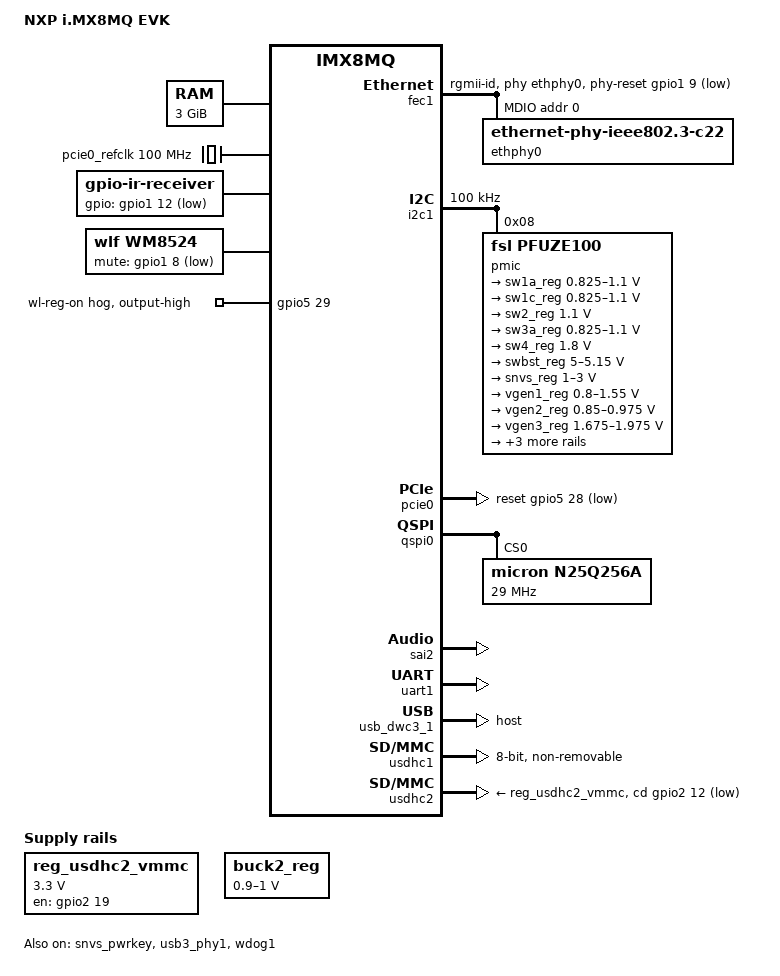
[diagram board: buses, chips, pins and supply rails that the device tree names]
// SPDX-License-Identifier: (GPL-2.0 OR MIT)
/*
 * Copyright 2017 NXP
 * Copyright (C) 2017-2018 Pengutronix, Lucas Stach <kernel@pengutronix.de>
 */

/dts-v1/;

#include "imx8mq.dtsi"

/ {
	model = "NXP i.MX8MQ EVK";
	compatible = "fsl,imx8mq-evk", "fsl,imx8mq";

	chosen {
		stdout-path = &uart1;
	};

	memory@40000000 {
		device_type = "memory";
		reg = <0x00000000 0x40000000 0 0xc0000000>;
	};

	pcie0_refclk: pcie0-refclk {
		compatible = "fixed-clock";
		#clock-cells = <0>;
		clock-frequency = <100000000>;
	};

	reg_usdhc2_vmmc: regulator-vsd-3v3 {
		pinctrl-names = "default";
		pinctrl-0 = <&pinctrl_reg_usdhc2>;
		compatible = "regulator-fixed";
		regulator-name = "VSD_3V3";
		regulator-min-microvolt = <3300000>;
		regulator-max-microvolt = <3300000>;
		gpio = <&gpio2 19 GPIO_ACTIVE_HIGH>;
		enable-active-high;
	};

	buck2_reg: regulator-buck2 {
		pinctrl-names = "default";
		pinctrl-0 = <&pinctrl_buck2>;
		compatible = "regulator-gpio";
		regulator-name = "vdd_arm";
		regulator-min-microvolt = <900000>;
		regulator-max-microvolt = <1000000>;
		gpios = <&gpio1 13 GPIO_ACTIVE_HIGH>;
		states = <1000000 0x0
			  900000 0x1>;
		regulator-boot-on;
		regulator-always-on;
	};

	ir-receiver {
		compatible = "gpio-ir-receiver";
		gpios = <&gpio1 12 GPIO_ACTIVE_LOW>;
		pinctrl-names = "default";
		pinctrl-0 = <&pinctrl_ir>;
	};

	wm8524: audio-codec {
		#sound-dai-cells = <0>;
		compatible = "wlf,wm8524";
		wlf,mute-gpios = <&gpio1 8 GPIO_ACTIVE_LOW>;
	};

	sound-wm8524 {
		compatible = "simple-audio-card";
		simple-audio-card,name = "wm8524-audio";
		simple-audio-card,format = "i2s";
		simple-audio-card,frame-master = <&cpudai>;
		simple-audio-card,bitclock-master = <&cpudai>;
		simple-audio-card,widgets =
			"Line", "Left Line Out Jack",
			"Line", "Right Line Out Jack";
		simple-audio-card,routing =
			"Left Line Out Jack", "LINEVOUTL",
			"Right Line Out Jack", "LINEVOUTR";

		cpudai: simple-audio-card,cpu {
			sound-dai = <&sai2>;
		};

		link_codec: simple-audio-card,codec {
			sound-dai = <&wm8524>;
			clocks = <&clk IMX8MQ_CLK_SAI2_ROOT>;
		};
	};
};

&A53_0 {
	cpu-supply = <&buck2_reg>;
};

&A53_1 {
	cpu-supply = <&buck2_reg>;
};

&A53_2 {
	cpu-supply = <&buck2_reg>;
};

&A53_3 {
	cpu-supply = <&buck2_reg>;
};

&ddrc {
	operating-points-v2 = <&ddrc_opp_table>;

	ddrc_opp_table: opp-table {
		compatible = "operating-points-v2";

		opp-25M {
			opp-hz = /bits/ 64 <25000000>;
		};

		opp-100M {
			opp-hz = /bits/ 64 <100000000>;
		};

		/*
		 * On imx8mq B0 PLL can't be bypassed so low bus is 166M
		 */
		opp-166M {
			opp-hz = /bits/ 64 <166935483>;
		};

		opp-800M {
			opp-hz = /bits/ 64 <800000000>;
		};
	};
};

&fec1 {
	pinctrl-names = "default";
	pinctrl-0 = <&pinctrl_fec1>;
	phy-mode = "rgmii-id";
	phy-handle = <&ethphy0>;
	phy-reset-gpios = <&gpio1 9  GPIO_ACTIVE_LOW>;
	phy-reset-duration = <10>;
	fsl,magic-packet;
	status = "okay";

	mdio {
		#address-cells = <1>;
		#size-cells = <0>;

		ethphy0: ethernet-phy@0 {
			compatible = "ethernet-phy-ieee802.3-c22";
			reg = <0>;
		};
	};
};

&gpio5 {
	pinctrl-names = "default";
	pinctrl-0 = <&pinctrl_wifi_reset>;

	wl-reg-on {
		gpio-hog;
		gpios = <29 GPIO_ACTIVE_HIGH>;
		output-high;
	};
};

&i2c1 {
	clock-frequency = <100000>;
	pinctrl-names = "default";
	pinctrl-0 = <&pinctrl_i2c1>;
	status = "okay";

	pmic@8 {
		compatible = "fsl,pfuze100";
		reg = <0x8>;

		regulators {
			sw1a_reg: sw1ab {
				regulator-min-microvolt = <825000>;
				regulator-max-microvolt = <1100000>;
			};

			sw1c_reg: sw1c {
				regulator-min-microvolt = <825000>;
				regulator-max-microvolt = <1100000>;
			};

			sw2_reg: sw2 {
				regulator-min-microvolt = <1100000>;
				regulator-max-microvolt = <1100000>;
				regulator-always-on;
			};

			sw3a_reg: sw3ab {
				regulator-min-microvolt = <825000>;
				regulator-max-microvolt = <1100000>;
				regulator-always-on;
			};

			sw4_reg: sw4 {
				regulator-min-microvolt = <1800000>;
				regulator-max-microvolt = <1800000>;
				regulator-always-on;
			};

			swbst_reg: swbst {
				regulator-min-microvolt = <5000000>;
				regulator-max-microvolt = <5150000>;
			};

			snvs_reg: vsnvs {
				regulator-min-microvolt = <1000000>;
				regulator-max-microvolt = <3000000>;
				regulator-always-on;
			};

			vref_reg: vrefddr {
				regulator-always-on;
			};

			vgen1_reg: vgen1 {
				regulator-min-microvolt = <800000>;
				regulator-max-microvolt = <1550000>;
			};

			vgen2_reg: vgen2 {
				regulator-min-microvolt = <850000>;
				regulator-max-microvolt = <975000>;
				regulator-always-on;
			};

			vgen3_reg: vgen3 {
				regulator-min-microvolt = <1675000>;
				regulator-max-microvolt = <1975000>;
				regulator-always-on;
			};

			vgen4_reg: vgen4 {
				regulator-min-microvolt = <1625000>;
				regulator-max-microvolt = <1875000>;
				regulator-always-on;
			};

			vgen5_reg: vgen5 {
				regulator-min-microvolt = <3075000>;
				regulator-max-microvolt = <3625000>;
				regulator-always-on;
			};

			vgen6_reg: vgen6 {
				regulator-min-microvolt = <1800000>;
				regulator-max-microvolt = <3300000>;
			};
		};
	};
};

&pcie0 {
	pinctrl-names = "default";
	pinctrl-0 = <&pinctrl_pcie0>;
	reset-gpio = <&gpio5 28 GPIO_ACTIVE_LOW>;
	clocks = <&clk IMX8MQ_CLK_PCIE1_ROOT>,
		 <&clk IMX8MQ_CLK_PCIE1_AUX>,
		 <&clk IMX8MQ_CLK_PCIE1_PHY>,
		 <&pcie0_refclk>;
	clock-names = "pcie", "pcie_aux", "pcie_phy", "pcie_bus";
	status = "okay";
};

&pgc_gpu {
	power-supply = <&sw1a_reg>;
};

&qspi0 {
	pinctrl-names = "default";
	pinctrl-0 = <&pinctrl_qspi>;
	status = "okay";

	n25q256a: flash@0 {
		reg = <0>;
		#address-cells = <1>;
		#size-cells = <1>;
		compatible = "micron,n25q256a", "jedec,spi-nor";
		spi-max-frequency = <29000000>;
	};
};

&sai2 {
	pinctrl-names = "default";
	pinctrl-0 = <&pinctrl_sai2>;
	assigned-clocks = <&clk IMX8MQ_AUDIO_PLL1_BYPASS>, <&clk IMX8MQ_CLK_SAI2>;
	assigned-clock-parents = <&clk IMX8MQ_AUDIO_PLL1>, <&clk IMX8MQ_AUDIO_PLL1_OUT>;
	assigned-clock-rates = <0>, <24576000>;
	status = "okay";
};

&snvs_pwrkey {
	status = "okay";
};

&uart1 {
	pinctrl-names = "default";
	pinctrl-0 = <&pinctrl_uart1>;
	status = "okay";
};

&usb3_phy1 {
	status = "okay";
};

&usb_dwc3_1 {
	dr_mode = "host";
	status = "okay";
};

&usdhc1 {
	assigned-clocks = <&clk IMX8MQ_CLK_USDHC1>;
	assigned-clock-rates = <400000000>;
	pinctrl-names = "default", "state_100mhz", "state_200mhz";
	pinctrl-0 = <&pinctrl_usdhc1>;
	pinctrl-1 = <&pinctrl_usdhc1_100mhz>;
	pinctrl-2 = <&pinctrl_usdhc1_200mhz>;
	vqmmc-supply = <&sw4_reg>;
	bus-width = <8>;
	non-removable;
	no-sd;
	no-sdio;
	status = "okay";
};

&usdhc2 {
	assigned-clocks = <&clk IMX8MQ_CLK_USDHC2>;
	assigned-clock-rates = <200000000>;
	pinctrl-names = "default", "state_100mhz", "state_200mhz";
	pinctrl-0 = <&pinctrl_usdhc2>;
	pinctrl-1 = <&pinctrl_usdhc2_100mhz>;
	pinctrl-2 = <&pinctrl_usdhc2_200mhz>;
	cd-gpios = <&gpio2 12 GPIO_ACTIVE_LOW>;
	vmmc-supply = <&reg_usdhc2_vmmc>;
	status = "okay";
};

&wdog1 {
	pinctrl-names = "default";
	pinctrl-0 = <&pinctrl_wdog>;
	fsl,ext-reset-output;
	status = "okay";
};

&iomuxc {
	pinctrl_buck2: vddarmgrp {
		fsl,pins = <
			MX8MQ_IOMUXC_GPIO1_IO13_GPIO1_IO13		0x19
		>;

	};

	pinctrl_fec1: fec1grp {
		fsl,pins = <
			MX8MQ_IOMUXC_ENET_MDC_ENET1_MDC			0x3
			MX8MQ_IOMUXC_ENET_MDIO_ENET1_MDIO		0x23
			MX8MQ_IOMUXC_ENET_TD3_ENET1_RGMII_TD3		0x1f
			MX8MQ_IOMUXC_ENET_TD2_ENET1_RGMII_TD2		0x1f
			MX8MQ_IOMUXC_ENET_TD1_ENET1_RGMII_TD1		0x1f
			MX8MQ_IOMUXC_ENET_TD0_ENET1_RGMII_TD0		0x1f
			MX8MQ_IOMUXC_ENET_RD3_ENET1_RGMII_RD3		0x91
			MX8MQ_IOMUXC_ENET_RD2_ENET1_RGMII_RD2		0x91
			MX8MQ_IOMUXC_ENET_RD1_ENET1_RGMII_RD1		0x91
			MX8MQ_IOMUXC_ENET_RD0_ENET1_RGMII_RD0		0x91
			MX8MQ_IOMUXC_ENET_TXC_ENET1_RGMII_TXC		0x1f
			MX8MQ_IOMUXC_ENET_RXC_ENET1_RGMII_RXC		0x91
			MX8MQ_IOMUXC_ENET_RX_CTL_ENET1_RGMII_RX_CTL	0x91
			MX8MQ_IOMUXC_ENET_TX_CTL_ENET1_RGMII_TX_CTL	0x1f
			MX8MQ_IOMUXC_GPIO1_IO09_GPIO1_IO9		0x19
		>;
	};

	pinctrl_i2c1: i2c1grp {
		fsl,pins = <
			MX8MQ_IOMUXC_I2C1_SCL_I2C1_SCL			0x4000007f
			MX8MQ_IOMUXC_I2C1_SDA_I2C1_SDA			0x4000007f
		>;
	};

	pinctrl_ir: irgrp {
		fsl,pins = <
			MX8MQ_IOMUXC_GPIO1_IO12_GPIO1_IO12		0x4f
		>;
	};

	pinctrl_pcie0: pcie0grp {
		fsl,pins = <
			MX8MQ_IOMUXC_I2C4_SCL_PCIE1_CLKREQ_B		0x76
			MX8MQ_IOMUXC_UART4_RXD_GPIO5_IO28		0x16
		>;
	};

	pinctrl_qspi: qspigrp {
		fsl,pins = <
			MX8MQ_IOMUXC_NAND_ALE_QSPI_A_SCLK	0x82
			MX8MQ_IOMUXC_NAND_CE0_B_QSPI_A_SS0_B	0x82
			MX8MQ_IOMUXC_NAND_DATA00_QSPI_A_DATA0	0x82
			MX8MQ_IOMUXC_NAND_DATA01_QSPI_A_DATA1	0x82
			MX8MQ_IOMUXC_NAND_DATA02_QSPI_A_DATA2	0x82
			MX8MQ_IOMUXC_NAND_DATA03_QSPI_A_DATA3	0x82

		>;
	};

	pinctrl_reg_usdhc2: regusdhc2grpgpio {
		fsl,pins = <
			MX8MQ_IOMUXC_SD2_RESET_B_GPIO2_IO19		0x41
		>;
	};

	pinctrl_sai2: sai2grp {
		fsl,pins = <
			MX8MQ_IOMUXC_SAI2_TXFS_SAI2_TX_SYNC     0xd6
			MX8MQ_IOMUXC_SAI2_TXC_SAI2_TX_BCLK      0xd6
			MX8MQ_IOMUXC_SAI2_MCLK_SAI2_MCLK        0xd6
			MX8MQ_IOMUXC_SAI2_TXD0_SAI2_TX_DATA0    0xd6
			MX8MQ_IOMUXC_GPIO1_IO08_GPIO1_IO8       0xd6
		>;
	};

	pinctrl_uart1: uart1grp {
		fsl,pins = <
			MX8MQ_IOMUXC_UART1_RXD_UART1_DCE_RX		0x49
			MX8MQ_IOMUXC_UART1_TXD_UART1_DCE_TX		0x49
		>;
	};

	pinctrl_usdhc1: usdhc1grp {
		fsl,pins = <
			MX8MQ_IOMUXC_SD1_CLK_USDHC1_CLK			0x83
			MX8MQ_IOMUXC_SD1_CMD_USDHC1_CMD			0xc3
			MX8MQ_IOMUXC_SD1_DATA0_USDHC1_DATA0		0xc3
			MX8MQ_IOMUXC_SD1_DATA1_USDHC1_DATA1		0xc3
			MX8MQ_IOMUXC_SD1_DATA2_USDHC1_DATA2		0xc3
			MX8MQ_IOMUXC_SD1_DATA3_USDHC1_DATA3		0xc3
			MX8MQ_IOMUXC_SD1_DATA4_USDHC1_DATA4		0xc3
			MX8MQ_IOMUXC_SD1_DATA5_USDHC1_DATA5		0xc3
			MX8MQ_IOMUXC_SD1_DATA6_USDHC1_DATA6		0xc3
			MX8MQ_IOMUXC_SD1_DATA7_USDHC1_DATA7		0xc3
			MX8MQ_IOMUXC_SD1_STROBE_USDHC1_STROBE		0x83
			MX8MQ_IOMUXC_SD1_RESET_B_USDHC1_RESET_B		0xc1
		>;
	};

	pinctrl_usdhc1_100mhz: usdhc1-100grp {
		fsl,pins = <
			MX8MQ_IOMUXC_SD1_CLK_USDHC1_CLK			0x8d
			MX8MQ_IOMUXC_SD1_CMD_USDHC1_CMD			0xcd
			MX8MQ_IOMUXC_SD1_DATA0_USDHC1_DATA0		0xcd
			MX8MQ_IOMUXC_SD1_DATA1_USDHC1_DATA1		0xcd
			MX8MQ_IOMUXC_SD1_DATA2_USDHC1_DATA2		0xcd
			MX8MQ_IOMUXC_SD1_DATA3_USDHC1_DATA3		0xcd
			MX8MQ_IOMUXC_SD1_DATA4_USDHC1_DATA4		0xcd
			MX8MQ_IOMUXC_SD1_DATA5_USDHC1_DATA5		0xcd
			MX8MQ_IOMUXC_SD1_DATA6_USDHC1_DATA6		0xcd
			MX8MQ_IOMUXC_SD1_DATA7_USDHC1_DATA7		0xcd
			MX8MQ_IOMUXC_SD1_STROBE_USDHC1_STROBE		0x8d
			MX8MQ_IOMUXC_SD1_RESET_B_USDHC1_RESET_B		0xc1
		>;
	};

	pinctrl_usdhc1_200mhz: usdhc1-200grp {
		fsl,pins = <
			MX8MQ_IOMUXC_SD1_CLK_USDHC1_CLK			0x9f
			MX8MQ_IOMUXC_SD1_CMD_USDHC1_CMD			0xdf
			MX8MQ_IOMUXC_SD1_DATA0_USDHC1_DATA0		0xdf
			MX8MQ_IOMUXC_SD1_DATA1_USDHC1_DATA1		0xdf
			MX8MQ_IOMUXC_SD1_DATA2_USDHC1_DATA2		0xdf
			MX8MQ_IOMUXC_SD1_DATA3_USDHC1_DATA3		0xdf
			MX8MQ_IOMUXC_SD1_DATA4_USDHC1_DATA4		0xdf
			MX8MQ_IOMUXC_SD1_DATA5_USDHC1_DATA5		0xdf
			MX8MQ_IOMUXC_SD1_DATA6_USDHC1_DATA6		0xdf
			MX8MQ_IOMUXC_SD1_DATA7_USDHC1_DATA7		0xdf
			MX8MQ_IOMUXC_SD1_STROBE_USDHC1_STROBE		0x9f
			MX8MQ_IOMUXC_SD1_RESET_B_USDHC1_RESET_B		0xc1
		>;
	};

	pinctrl_usdhc2: usdhc2grp {
		fsl,pins = <
			MX8MQ_IOMUXC_SD2_CLK_USDHC2_CLK			0x83
			MX8MQ_IOMUXC_SD2_CMD_USDHC2_CMD			0xc3
			MX8MQ_IOMUXC_SD2_DATA0_USDHC2_DATA0		0xc3
			MX8MQ_IOMUXC_SD2_DATA1_USDHC2_DATA1		0xc3
			MX8MQ_IOMUXC_SD2_DATA2_USDHC2_DATA2		0xc3
			MX8MQ_IOMUXC_SD2_DATA3_USDHC2_DATA3		0xc3
			MX8MQ_IOMUXC_GPIO1_IO04_USDHC2_VSELECT		0xc1
		>;
	};

	pinctrl_usdhc2_100mhz: usdhc2-100grp {
		fsl,pins = <
			MX8MQ_IOMUXC_SD2_CLK_USDHC2_CLK			0x85
			MX8MQ_IOMUXC_SD2_CMD_USDHC2_CMD			0xc5
			MX8MQ_IOMUXC_SD2_DATA0_USDHC2_DATA0		0xc5
			MX8MQ_IOMUXC_SD2_DATA1_USDHC2_DATA1		0xc5
			MX8MQ_IOMUXC_SD2_DATA2_USDHC2_DATA2		0xc5
			MX8MQ_IOMUXC_SD2_DATA3_USDHC2_DATA3		0xc5
			MX8MQ_IOMUXC_GPIO1_IO04_USDHC2_VSELECT		0xc1
		>;
	};

	pinctrl_usdhc2_200mhz: usdhc2-200grp {
		fsl,pins = <
			MX8MQ_IOMUXC_SD2_CLK_USDHC2_CLK			0x87
			MX8MQ_IOMUXC_SD2_CMD_USDHC2_CMD			0xc7
			MX8MQ_IOMUXC_SD2_DATA0_USDHC2_DATA0		0xc7
			MX8MQ_IOMUXC_SD2_DATA1_USDHC2_DATA1		0xc7
			MX8MQ_IOMUXC_SD2_DATA2_USDHC2_DATA2		0xc7
			MX8MQ_IOMUXC_SD2_DATA3_USDHC2_DATA3		0xc7
			MX8MQ_IOMUXC_GPIO1_IO04_USDHC2_VSELECT		0xc1
		>;
	};

	pinctrl_wdog: wdog1grp {
		fsl,pins = <
			MX8MQ_IOMUXC_GPIO1_IO02_WDOG1_WDOG_B		0xc6
		>;
	};

	pinctrl_wifi_reset: wifiresetgrp {
		fsl,pins = <
			MX8MQ_IOMUXC_UART4_TXD_GPIO5_IO29		0x16
		>;
	};
};
